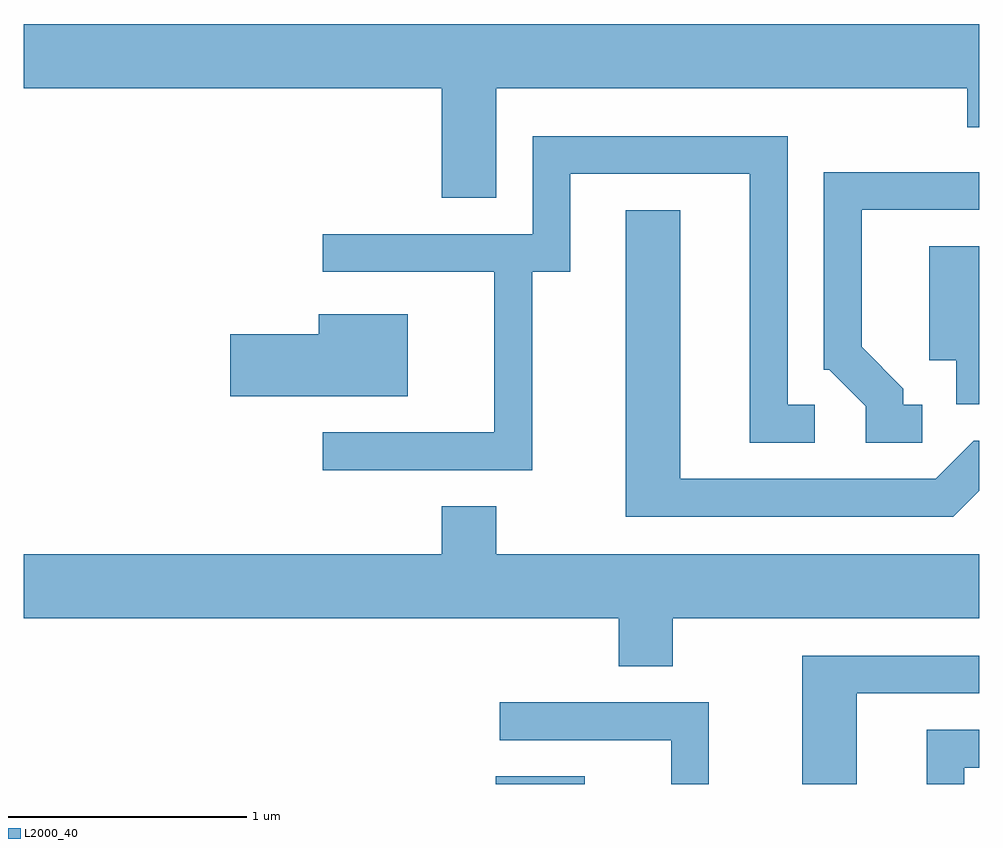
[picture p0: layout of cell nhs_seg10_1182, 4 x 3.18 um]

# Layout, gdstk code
import gdstk
lib = gdstk.Library(unit=1e-6, precision=1e-09)
def R(c, l, rs):  # rectangles x0, y0, x1, y1
    for r in rs: c.add(gdstk.rectangle(r[:2], r[2:], *l))
def P(c, l, *ps):  # polygons
    for p in ps: c.add(gdstk.Polygon(p, *l))
L2000_40 = (2000, 40)

nhs_seg10_1182 = lib.new_cell('nhs_seg10_1182')
R(nhs_seg10_1182, L2000_40, [(221.586,2146.522,221.959,2146.554)])
P(nhs_seg10_1182, L2000_40, [(221.589,2149.436),(223.561,2149.436),(223.561,2149.271),(223.611,2149.271),(223.611,2149.704),(219.611,2149.704),(219.611,2149.436),(221.361,2149.436),(221.361,2148.976),(221.589,2148.976)],
  [(221.739,2148.666),(221.899,2148.666),(221.899,2149.076),(222.651,2149.076),(222.651,2147.951),(222.923,2147.951),(222.923,2148.109),(222.809,2148.109),(222.809,2149.234),(221.741,2149.234),(221.741,2148.824),(220.863,2148.824),(220.863,2148.666),(221.581,2148.666),(221.581,2147.994),(220.863,2147.994),(220.863,2147.836),(221.739,2147.836)],
  [(223.373,2148.109),(223.294,2148.109),(223.294,2148.177),(223.119,2148.352),(223.119,2148.926),(223.611,2148.926),(223.611,2149.084),(222.961,2149.084),(222.961,2148.256),(222.984,2148.256),(223.136,2148.104),(223.136,2147.951),(223.373,2147.951)],
  [(223.611,2147.75),(223.611,2147.959),(223.589,2147.959),(223.429,2147.799),(222.359,2147.799),(222.359,2148.924),(222.131,2148.924),(222.131,2147.641),(223.502,2147.641)],
  [(223.611,2148.774),(223.401,2148.774),(223.401,2148.296),(223.516,2148.296),(223.516,2148.111),(223.611,2148.111)],
  [(221.219,2148.489),(220.846,2148.489),(220.846,2148.404),(220.476,2148.404),(220.476,2148.146),(221.219,2148.146)],
  [(222.329,2147.216),(223.611,2147.216),(223.611,2147.484),(221.589,2147.484),(221.589,2147.684),(221.361,2147.684),(221.361,2147.484),(219.611,2147.484),(219.611,2147.216),(222.101,2147.216),(222.101,2147.016),(222.329,2147.016)],
  [(223.099,2146.901),(223.611,2146.901),(223.611,2147.059),(222.871,2147.059),(222.871,2146.522),(223.099,2146.522)],
  [(222.479,2146.864),(221.603,2146.864),(221.603,2146.706),(222.321,2146.706),(222.321,2146.522),(222.479,2146.522)],
  [(223.549,2146.591),(223.611,2146.591),(223.611,2146.749),(223.391,2146.749),(223.391,2146.522),(223.549,2146.522)])

lib.write_gds('nhs_seg10_1182.gds')
